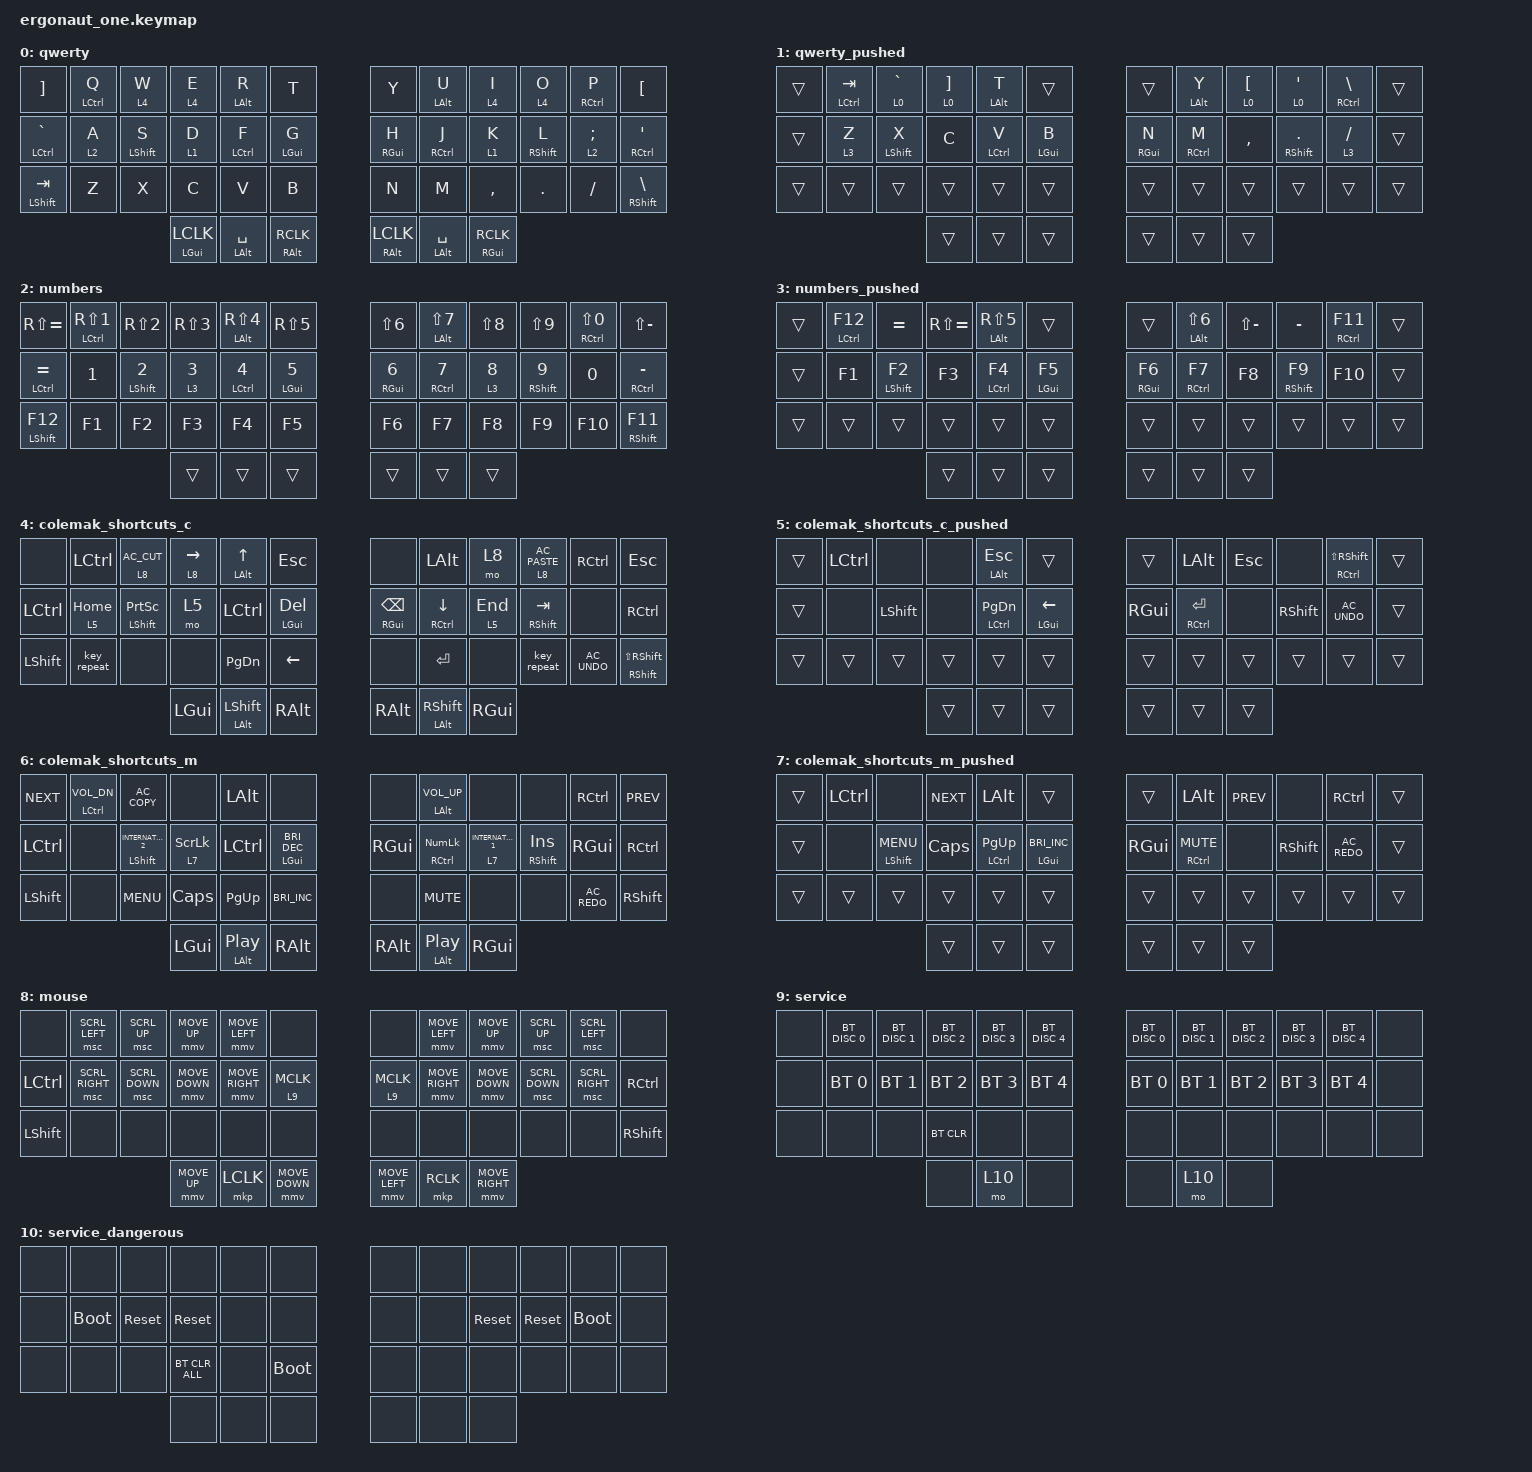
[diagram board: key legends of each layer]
#include <dt-bindings/zmk/mouse.h>
#include <behaviors.dtsi>
#include <dt-bindings/zmk/bt.h>
#include <dt-bindings/zmk/keys.h>
#include <dt-bindings/zmk/pointing.h>

#define DEF 0
#define LWR 1
#define RSE 2
#define ADJ 3

&lt {
    quick-tap-ms = <200>;
    flavor = "balanced";
    tapping-term-ms = <200>;
};

&mt {
    quick-tap-ms = <200>;
    flavor = "balanced";
    tapping-term-ms = <200>;
};

/ {
    conditional_layers { compatible = "zmk,conditional-layers"; };

    behaviors {
        mkpt: mouse_key_press_tap {
            compatible = "zmk,behavior-hold-tap";
            bindings = <&kp>, <&mkp>;

            #binding-cells = <2>;
            tapping-term-ms = <200>;
            quick-tap-ms = <200>;
            flavor = "balanced";
            label = "Mouse Key Press Tap";
        };

        ktt: key_toggle_tap {
            compatible = "zmk,behavior-hold-tap";
            label = "Key Toggle Tap";
            bindings = <&kp>, <&kt>;

            #binding-cells = <2>;
            tapping-term-ms = <200>;
            quick-tap-ms = <200>;
            flavor = "balanced";
        };

        btt: bluetooth_tap {
            compatible = "zmk,behavior-hold-tap";
            label = "Bluetooth Tap";
            bindings = <&kp>, <&bt>;

            #binding-cells = <2>;
            tapping-term-ms = <200>;
            quick-tap-ms = <200>;
            flavor = "balanced";
        };

        btlt: bluetooth_layer_tap {
            compatible = "zmk,behavior-hold-tap";
            label = "Bluetooth Layer Tap";
            bindings = <&mo>, <&bt>;

            #binding-cells = <2>;
            tapping-term-ms = <200>;
            quick-tap-ms = <200>;
            flavor = "balanced";
        };

        mkplt: mouse_key_press_layer_tap {
            compatible = "zmk,behavior-hold-tap";
            bindings = <&mo>, <&mkp>;

            #binding-cells = <2>;
            tapping-term-ms = <200>;
            quick-tap-ms = <200>;
            flavor = "balanced";
            label = "Mouse Key Press Layer Tap";
        };
    };

    combos {
        compatible = "zmk,combos";

        ralt_alt_alt {
            bindings = <&kp RALT>;
            key-positions = <37 40>;
            timeout-ms = <100>;
        };

        mouse_middle_click {
            bindings = <&mkp MCLK>;
            key-positions = <36 41>;
            timeout-ms = <100>;
        };

        change_lang_ei {
            bindings = <&kp LS(RSHIFT)>;
            key-positions = <3 8>;
            timeout-ms = <100>;
            layers = <0>;
        };

        change_lang_gh {
            bindings = <&kp LS(RSHIFT)>;
            key-positions = <17 18>;
            timeout-ms = <100>;
            layers = <0>;
        };

        change_lang_vm {
            bindings = <&kp LS(RSHIFT)>;
            key-positions = <28 31>;
            timeout-ms = <100>;
            layers = <0>;
        };

        change_lang_wo {
            bindings = <&kp LS(RSHIFT)>;
            key-positions = <2 9>;
            timeout-ms = <100>;
            layers = <0>;
        };

        shortcuts_m_13l {
            bindings = <&mo 6>;
            key-positions = <3 37>;
            layers = <0>;
            timeout-ms = <100>;
        };

        shortcuts_m_13r {
            bindings = <&mo 6>;
            key-positions = <8 40>;
            layers = <0>;
            timeout-ms = <100>;
        };

        shortcuts_m_14l {
            bindings = <&mo 6>;
            key-positions = <37 2>;
            timeout-ms = <100>;
            layers = <0>;
        };

        shortcuts_m_14r {
            bindings = <&mo 6>;
            key-positions = <40 9>;
            timeout-ms = <100>;
            layers = <0>;
        };

        shortcuts_m_23l {
            bindings = <&mo 6>;
            key-positions = <3 4>;
            timeout-ms = <100>;
            layers = <0>;
        };

        shortcuts_m_23r {
            bindings = <&mo 6>;
            key-positions = <8 7>;
            timeout-ms = <100>;
            layers = <0>;
        };

        shortcuts_m_24l {
            bindings = <&mo 6>;
            key-positions = <4 2>;
            timeout-ms = <100>;
            layers = <0>;
        };

        pshortcuts_m_24r {
            bindings = <&mo 6>;
            key-positions = <7 9>;
            timeout-ms = <100>;
            layers = <0>;
        };

        mouse {
            bindings = <&mo 8>;
            key-positions = <38 39>;
            timeout-ms = <100>;
        };

        mouse_middle_click_on_layer {
            bindings = <&mkp MCLK>;
            key-positions = <37 40>;
            timeout-ms = <100>;
            layers = <8>;
        };
    };

    keymap {
        compatible = "zmk,keymap";

        qwerty {
            bindings = <
&kp RIGHT_BRACKET  &mt LCTRL Q  &lt 4 W       &lt 4 E          &mt LALT R      &kp T            &kp Y            &mt LALT U      &lt 4 I          &lt 4 O       &mt RCTRL P      &kp LEFT_BRACKET
&mt LCTRL GRAVE    &lt 2 A      &mt LSHIFT S  &lt 1 D          &mt LCTRL F     &mt LGUI G       &mt RGUI H       &mt RCTRL J     &lt 1 K          &mt RSHIFT L  &lt 2 SEMICOLON  &mt RCTRL APOSTROPHE
&mt LSHIFT TAB     &kp Z        &kp X         &kp C            &kp V           &kp B            &kp N            &kp M           &kp COMMA        &kp DOT       &kp FSLH         &mt RSHIFT BACKSLASH
                                              &mkpt LGUI LCLK  &mt LALT SPACE  &mkpt RALT RCLK  &mkpt RALT LCLK  &mt LALT SPACE  &mkpt RGUI RCLK
            >;
        };

        qwerty_pushed {
            bindings = <
&trans  &mt LCTRL TAB  &lt 0 GRAVE   &lt 0 RIGHT_BRACKET  &mt LALT T   &trans      &trans      &mt LALT Y   &lt 0 LEFT_BRACKET  &lt 0 APOSTROPHE  &mt RCTRL BACKSLASH  &trans
&trans  &lt 3 Z        &mt LSHIFT X  &kp C                &mt LCTRL V  &mt LGUI B  &mt RGUI N  &mt RCTRL M  &kp COMMA           &mt RSHIFT DOT    &lt 3 SLASH          &trans
&trans  &trans         &trans        &trans               &trans       &trans      &trans      &trans       &trans              &trans            &trans               &trans
                                     &trans               &trans       &trans      &trans      &trans       &trans
            >;
        };

        numbers {
            bindings = <
&kp RS(EQUAL)    &mt LCTRL RS(N1)  &kp RS(N2)     &kp RS(N3)  &mt LALT RS(N4)  &kp RS(N5)   &kp LS(N6)   &mt LALT LS(N7)  &kp LS(N8)  &kp LS(N9)     &mt RCTRL LS(N0)  &kp LS(MINUS)
&mt LCTRL EQUAL  &kp N1            &mt LSHIFT N2  &lt 3 N3    &mt LCTRL N4     &mt LGUI N5  &mt RGUI N6  &mt RCTRL N7     &lt 3 N8    &mt RSHIFT N9  &kp N0            &mt RCTRL MINUS
&mt LSHIFT F12   &kp F1            &kp F2         &kp F3      &kp F4           &kp F5       &kp F6       &kp F7           &kp F8      &kp F9         &kp F10           &mt RSHIFT F11
                                                  &trans      &trans           &trans       &trans       &trans           &trans
            >;
        };

        numbers_pushed {
            bindings = <
&trans  &mt LCTRL F12  &kp EQUAL      &kp RS(EQUAL)  &mt LALT RS(N5)  &trans       &trans       &mt LALT LS(N6)  &kp LS(MINUS)  &kp MINUS      &mt RCTRL F11  &trans
&trans  &kp F1         &mt LSHIFT F2  &kp F3         &mt LCTRL F4     &mt LGUI F5  &mt RGUI F6  &mt RCTRL F7     &kp F8         &mt RSHIFT F9  &kp F10        &trans
&trans  &trans         &trans         &trans         &trans           &trans       &trans       &trans           &trans         &trans         &trans         &trans
                                      &trans         &trans           &trans       &trans       &trans           &trans
            >;
        };

        colemak_shortcuts_c {
            bindings = <
&none       &kp LCTRL    &lt 8 C_AC_CUT          &lt 8 RIGHT  &mt LALT UP      &kp ESC       &none               &kp LALT          &mo 8      &lt 8 C_AC_PASTE  &kp RCTRL      &kp ESC
&kp LCTRL   &lt 5 HOME   &mt LSHIFT PRINTSCREEN  &mo 5        &kp LCTRL        &mt LGUI DEL  &mt RGUI BACKSPACE  &mt RCTRL DOWN    &lt 5 END  &mt RSHIFT TAB    &none          &kp RCTRL
&kp LSHIFT  &key_repeat  &none                   &none        &kp PG_DN        &kp LEFT      &none               &kp RET           &none      &key_repeat       &kp C_AC_UNDO  &mt RSHIFT LS(RSHIFT)
                                                 &kp LGUI     &ktt LALT LSHFT  &kp RALT      &kp RALT            &ktt LALT RSHIFT  &kp RGUI
            >;
        };

        colemak_shortcuts_c_pushed {
            bindings = <
&trans  &kp LCTRL  &none       &none   &mt LALT ESC     &trans         &trans    &kp LALT       &kp ESC  &none       &mt RCTRL LS(RSHIFT)  &trans
&trans  &none      &kp LSHIFT  &none   &mt LCTRL PG_DN  &mt LGUI LEFT  &kp RGUI  &mt RCTRL RET  &none    &kp RSHIFT  &kp C_AC_UNDO         &trans
&trans  &trans     &trans      &trans  &trans           &trans         &trans    &trans         &trans   &trans      &trans                &trans
                               &trans  &trans           &trans         &trans    &trans         &trans
            >;
        };

        colemak_shortcuts_m {
            bindings = <
&kp C_NEXT  &mt LCTRL C_VOL_DN  &kp C_AC_COPY               &none             &kp LALT               &none               &none     &mt LALT C_VOL_UP      &none                  &none           &kp RCTRL      &kp C_PREV
&kp LCTRL   &none               &mt LSHIFT INTERNATIONAL_2  &lt 7 SCROLLLOCK  &kp LCTRL              &mt LGUI C_BRI_DEC  &kp RGUI  &mt RCTRL KP_NUM       &lt 7 INTERNATIONAL_1  &mt RSHIFT INS  &kp RGUI       &kp RCTRL
&kp LSHIFT  &none               &kp C_MENU                  &kp CAPS          &kp PG_UP              &kp C_BRI_INC       &none     &kp C_MUTE             &none                  &none           &kp C_AC_REDO  &kp RSHIFT
                                                            &kp LGUI          &mt LALT C_PLAY_PAUSE  &kp RALT            &kp RALT  &mt LALT C_PLAY_PAUSE  &kp RGUI
            >;
        };

        colemak_shortcuts_m_pushed {
            bindings = <
&trans  &kp LCTRL  &none              &kp C_NEXT  &kp LALT         &trans              &trans    &kp LALT          &kp C_PREV  &none       &kp RCTRL      &trans
&trans  &none      &mt LSHIFT C_MENU  &kp CAPS    &mt LCTRL PG_UP  &mt LGUI C_BRI_INC  &kp RGUI  &mt RCTRL C_MUTE  &none       &kp RSHIFT  &kp C_AC_REDO  &trans
&trans  &trans     &trans             &trans      &trans           &trans              &trans    &trans            &trans      &trans      &trans         &trans
                                      &trans      &trans           &trans              &trans    &trans            &trans
            >;
        };

        mouse {
            bindings = <
&none       &msc SCRL_LEFT   &msc SCRL_UP    &mmv MOVE_UP    &mmv MOVE_LEFT   &none           &none           &mmv MOVE_LEFT   &mmv MOVE_UP     &msc SCRL_UP    &msc SCRL_LEFT   &none
&kp LCTRL   &msc SCRL_RIGHT  &msc SCRL_DOWN  &mmv MOVE_DOWN  &mmv MOVE_RIGHT  &mkplt 9 MCLK   &mkplt 9 MCLK   &mmv MOVE_RIGHT  &mmv MOVE_DOWN   &msc SCRL_DOWN  &msc SCRL_RIGHT  &kp RCTRL
&kp LSHIFT  &none            &none           &none           &none            &none           &none           &none            &none            &none           &none            &kp RSHIFT
                                             &mmv MOVE_UP    &mkp LCLK        &mmv MOVE_DOWN  &mmv MOVE_LEFT  &mkp RCLK        &mmv MOVE_RIGHT
            >;
        };

        service {
            bindings = <
&none  &bt BT_DISC 0  &bt BT_DISC 1  &bt BT_DISC 2  &bt BT_DISC 3  &bt BT_DISC 4  &bt BT_DISC 0  &bt BT_DISC 1  &bt BT_DISC 2  &bt BT_DISC 3  &bt BT_DISC 4  &none
&none  &bt BT_SEL 0   &bt BT_SEL 1   &bt BT_SEL 2   &bt BT_SEL 3   &bt BT_SEL 4   &bt BT_SEL 0   &bt BT_SEL 1   &bt BT_SEL 2   &bt BT_SEL 3   &bt BT_SEL 4   &none
&none  &none          &none          &bt BT_CLR     &none          &none          &none          &none          &none          &none          &none          &none
                                     &none          &mo 10         &none          &none          &mo 10         &none
            >;
        };

        service_dangerous {
            bindings = <
&none  &none        &none       &none           &none  &none        &none  &none  &none       &none       &none        &none
&none  &bootloader  &sys_reset  &sys_reset      &none  &none        &none  &none  &sys_reset  &sys_reset  &bootloader  &none
&none  &none        &none       &bt BT_CLR_ALL  &none  &bootloader  &none  &none  &none       &none       &none        &none
                                &none           &none  &none        &none  &none  &none
            >;
        };
    };
};
